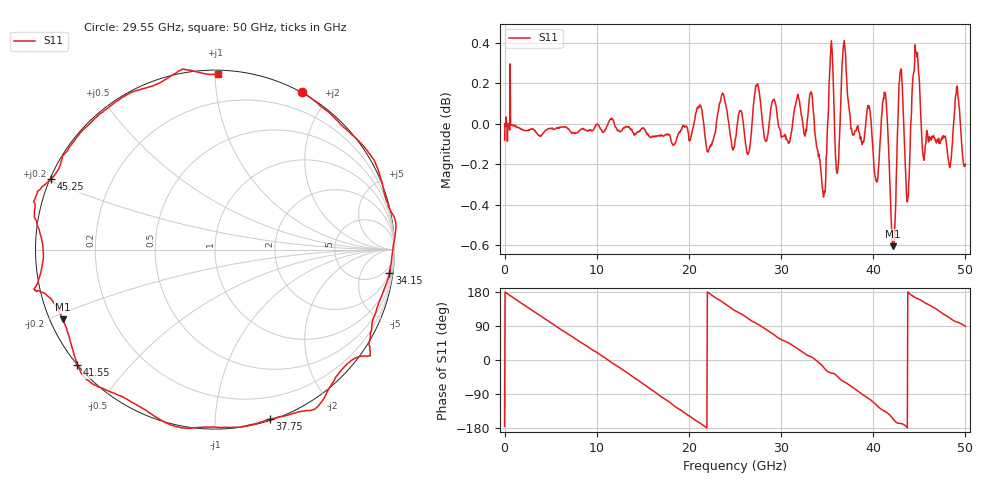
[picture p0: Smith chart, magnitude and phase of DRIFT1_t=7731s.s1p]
!Created with skrf (http://scikit-rf.org).
# Hz S RI R 50.0
!freq ReS11 ImS11
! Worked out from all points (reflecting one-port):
!   1001 points, 300 kHz to 50 GHz, reference 50 ohm
!   lowest |S11| = -0.6 dB at 42.15 GHz (marker M1), VSWR 28.70, Z = 1.83 - j10.9 ohm
!   phase of S11 starts at -175 deg and turns -816 deg over the sweep
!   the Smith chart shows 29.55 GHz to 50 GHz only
!   S11 on the Smith chart (normalised r, x): 29.55 GHz: -0.01, +1.69; 34.15 GHz: 2, -14; 37.75 GHz: 0.01, -1.38; 41.55 GHz: 0.00, -0.36; 45.25 GHz: 0.00, +0.21; 50 GHz: 0.02, +1.02
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300000  -0.9875 -0.0787
1.500291e9  -0.9058 0.4186
3.30028e9  -0.5808 0.8092
6.250262e9  0.2018 0.9774
9.500243e9  0.8913 0.4445
1.250022e10  0.9321 -0.3491
1.580021e10  0.2392 -0.9627
1.73502e10  -0.2104 -0.9709
1.875019e10  -0.5971 -0.7931
2.150017e10  -0.9926 -0.1495
2.350016e10  -0.9219 0.4241
2.500015e10  -0.638 0.7567
2.735014e10  -0.1076 1.016
2.955012e10  0.4859 0.8807
3.125011e10  0.7842 0.6222
3.30501e10  0.9963 0.1855
3.41501e10  0.9713 -0.1318
3.520009e10  0.864 -0.5446
3.750008e10  0.3791 -0.9294
3.775007e10  0.3076 -0.945
3.955006e10  -0.2155 -0.9868
4.155005e10  -0.7661 -0.6423
4.215005e10  -0.8478 -0.3887
4.290004e10  -1.004 -0.2226
4.375004e10  -0.9585 0.00607
4.525003e10  -0.9128 0.394
4.770001e10  -0.4956 0.8595
5e10  0.0178 0.977
